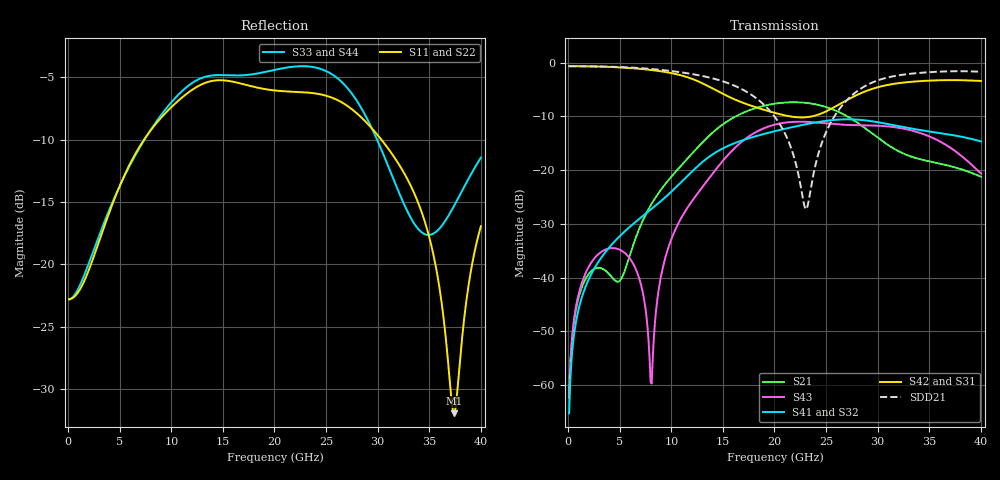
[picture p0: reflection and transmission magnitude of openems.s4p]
! E_s8_L1L3_p1000_round_g2: pair L1→L3, pitch 1 mm, two round antipads, 2 GND vias
! stackup: 8-layer 1.6 mm FR-4 (generic)
! ports: 1 P near, 2 N near, 3 P far, 4 N far
! openEMS 0.37.0, staircase, fine mesh (dfine 0.0175 mm), 1729728 cells
# Hz S RI R 50
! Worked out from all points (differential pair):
!   400 points, 100 MHz to 40 GHz, reference 50 ohm
!   strongest paths, dB at 100 MHz, 10.1 GHz, 20.1 GHz, 30.1 GHz, 40 GHz:
!     S42: -0.7, -2.0, -9.4, -4.5, -3.4
!     S31: -0.7, -2.0, -9.4, -4.5, -3.4
!     S41: -65.2, -23.8, -12.7, -11.1, -14.7
!     S32: -65.2, -23.8, -12.7, -11.1, -14.7
!     S43: -62.0, -32.4, -11.5, -11.7, -20.6
!     S21: -62.3, -21.0, -7.6, -14.1, -21.2
!   taken as a pair (ports 2,1 in; 4,3 out), SDD21 dB: -0.7, -1.6, -10.3, -3.2, -1.7
!   lowest |S11| = -32.0 dB at 37.4 GHz (marker M1), VSWR 1.05, Z = 51.1 + j2.31 ohm
!   |S11| at or under -10 dB: start of sweep to 7.367 GHz; 30.35 GHz to end of sweep
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1e8  -0.0723 -0.000799  0.000364 0.000672  0.9269 -0.0347  0.000159 -0.000532
     0.000364 0.000672  -0.0723 -0.000799  0.000159 -0.000532  0.9269 -0.0347
     0.9269 -0.0346  0.000148 -0.000527  -0.0723 -0.000764  0.00035 0.000709
     0.000148 -0.000527  0.9269 -0.0346  0.00035 0.000709  -0.0723 -0.000764
4.1e9  -0.1636 0.0272  0.0104 0.00135  0.0333 -0.9114  -0.0193 0.00373
       0.0104 0.00135  -0.1636 0.0272  -0.0193 0.00373  0.0333 -0.9114
       0.0335 -0.9114  -0.0193 0.00372  -0.1582 0.0607  0.0187 0.00142
       -0.0193 0.00372  0.0335 -0.9114  0.0187 0.00142  -0.1582 0.0607
8.1e9  -0.0205 0.348  0.0477 0.0104  -0.8498 -0.0738  0.015 0.041
       0.0477 0.0104  -0.0205 0.348  0.015 0.041  -0.8498 -0.0738
       -0.8504 -0.0738  0.015 0.041  0.00356 0.3505  0.000917 0.000481
       0.015 0.041  -0.8504 -0.0738  0.000917 0.000481  0.00356 0.3505
1.71e10  -0.2694 -0.4516  -0.2111 0.2744  0.4187 0.0198  -0.1156 0.1543
         -0.2111 0.2744  -0.2694 -0.4516  -0.1156 0.1543  0.4187 0.0198
         0.4175 0.0208  -0.1157 0.1536  -0.3827 -0.4265  -0.0356 0.1895
         -0.1157 0.1536  0.4175 0.0208  -0.0356 0.1895  -0.3827 -0.4265
2.99e10  0.2436 -0.2275  -0.0839 0.1863  -0.5775 0.1176  0.0874 0.2678
         -0.0839 0.1863  0.2436 -0.2275  0.0874 0.2678  -0.5775 0.1176
         -0.5749 0.1175  0.0872 0.2665  0.1818 -0.2617  0.1124 0.2338
         0.0872 0.2665  -0.5749 0.1175  0.1124 0.2338  0.1818 -0.2617
3.74e10  0.0113 0.0226  0.0539 -0.0922  0.6843 0.0849  -0.1061 -0.1829
         0.0539 -0.0922  0.0113 0.0226  -0.1061 -0.1829  0.6843 0.0849
         0.6823 0.0871  -0.1052 -0.1827  -0.1704 0.0184  -0.0838 -0.1282
         -0.1052 -0.1827  0.6823 0.0871  -0.0838 -0.1282  -0.1704 0.0184
4e10  0.0206 -0.1406  -0.0578 -0.0652  0.4601 -0.4941  -0.1842 0.0153
      -0.0578 -0.0652  0.0206 -0.1406  -0.1842 0.0153  0.4601 -0.4941
      0.4628 -0.493  -0.1845 0.0147  -0.1803 0.1978  -0.0914 0.0187
      -0.1845 0.0147  0.4628 -0.493  -0.0914 0.0187  -0.1803 0.1978
